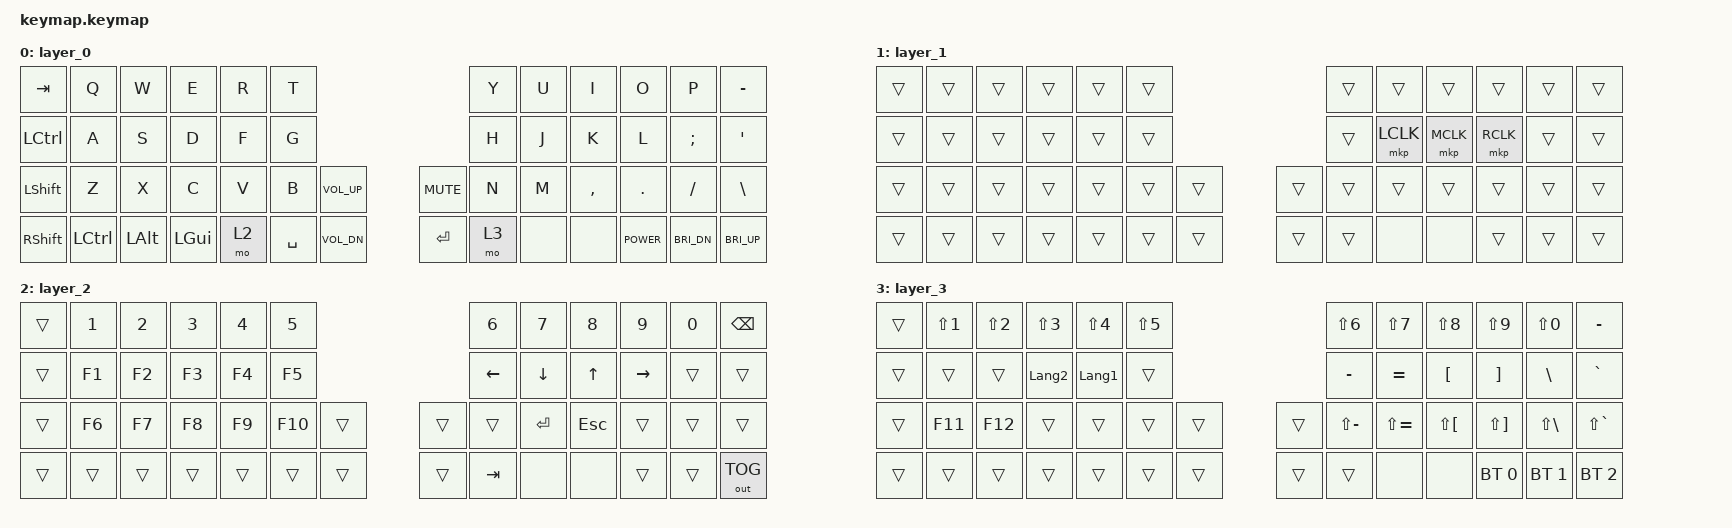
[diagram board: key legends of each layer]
#include <behaviors.dtsi>
#include <dt-bindings/zmk/bt.h>
#include <dt-bindings/zmk/keys.h>
#include <dt-bindings/zmk/outputs.h>
#include <dt-bindings/zmk/pointing.h>

/ {
    combos {
        compatible = "zmk,combos";

        bt_clear {
            bindings = <&bt BT_CLR>;
            key-positions = <16 17>;
            layers = <2>;
        };
    };

    keymap {
        compatible = "zmk,keymap";

        layer_0 {
            bindings = <
&kp TAB    &kp Q      &kp W     &kp E     &kp R  &kp T                   /* | */             &kp Y  &kp U  &kp I      &kp O        &kp P         &kp MINUS
&kp LCTRL  &kp A      &kp S     &kp D     &kp F  &kp G                   /* | */             &kp H  &kp J  &kp K      &kp L        &kp SEMI      &kp SQT
&kp LSHFT  &kp Z      &kp X     &kp C     &kp V  &kp B      &kp C_VOL_UP /* | */ &kp C_MUTE  &kp N  &kp M  &kp COMMA  &kp DOT      &kp FSLH      &kp BACKSLASH
&kp RSHFT  &kp LCTRL  &kp LALT  &kp LGUI  &mo 2  &kp SPACE  &kp C_VOL_DN /* | */ &kp ENTER   &mo 3  &none  &none      &kp C_POWER  &kp C_BRI_DN  &kp C_BRI_UP
            >;
        };

        layer_1 {
            bindings = <
&trans  &trans  &trans  &trans  &trans  &trans         /* | */         &trans  &trans     &trans     &trans     &trans  &trans
&trans  &trans  &trans  &trans  &trans  &trans         /* | */         &trans  &mkp LCLK  &mkp MCLK  &mkp RCLK  &trans  &trans
&trans  &trans  &trans  &trans  &trans  &trans  &trans /* | */ &trans  &trans  &trans     &trans     &trans     &trans  &trans
&trans  &trans  &trans  &trans  &trans  &trans  &trans /* | */ &trans  &trans  &none      &none      &trans     &trans  &trans
            >;
        };

        layer_2 {
            bindings = <
&trans  &kp N1  &kp N2  &kp N3  &kp N4  &kp N5          /* | */          &kp N6    &kp N7     &kp N8        &kp N9     &kp N0  &kp BSPC
&trans  &kp F1  &kp F2  &kp F3  &kp F4  &kp F5          /* | */          &kp LEFT  &kp DOWN   &kp UP_ARROW  &kp RIGHT  &trans  &trans
&trans  &kp F6  &kp F7  &kp F8  &kp F9  &kp F10  &trans /* | */ &trans   &trans    &kp ENTER  &kp ESCAPE    &trans     &trans  &trans
&trans  &trans  &trans  &trans  &trans  &trans   &trans /* | */ &trans   &kp TAB   &none      &none         &trans     &trans  &out OUT_TOG
            >;
        };

        layer_3 {
            bindings = <
&trans  &kp LS(N1)  &kp LS(N2)  &kp LS(N3)      &kp LS(N4)      &kp LS(N5)         /* | */         &kp LS(N6)     &kp LS(N7)     &kp LS(N8)            &kp LS(N9)             &kp LS(N0)         &kp MINUS
&trans  &trans      &trans      &kp LANGUAGE_2  &kp LANGUAGE_1  &trans              /* | */         &kp MINUS      &kp EQUAL      &kp LEFT_BRACKET      &kp RIGHT_BRACKET      &kp BACKSLASH      &kp GRAVE
&trans  &kp F11     &kp F12     &trans          &trans          &trans      &trans /* | */ &trans  &kp LS(MINUS)  &kp LS(EQUAL)  &kp LS(LEFT_BRACKET)  &kp LS(RIGHT_BRACKET)  &kp LS(BACKSLASH)  &kp LS(GRAVE)
&trans  &trans      &trans      &trans          &trans          &trans      &trans /* | */ &trans  &trans         &none          &none                 &bt BT_SEL 0           &bt BT_SEL 1       &bt BT_SEL 2
            >;
        };
    };
};
